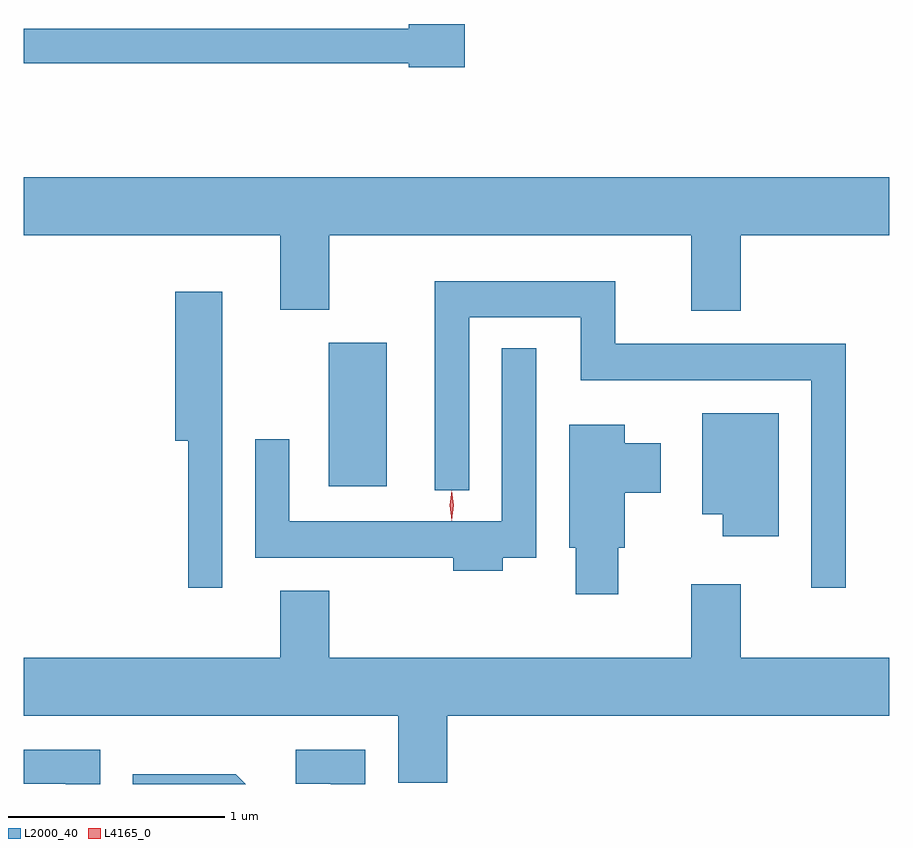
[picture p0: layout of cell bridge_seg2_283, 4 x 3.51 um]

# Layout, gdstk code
import gdstk
lib = gdstk.Library(unit=1e-6, precision=1e-09)
def R(c, l, rs):  # rectangles x0, y0, x1, y1
    for r in rs: c.add(gdstk.rectangle(r[:2], r[2:], *l))
def P(c, l, *ps):  # polygons
    for p in ps: c.add(gdstk.Polygon(p, *l))
L2000_40 = (2000, 40)
L4165_0 = (4165, 0)

bridge_seg2_283 = lib.new_cell('bridge_seg2_283')
R(bridge_seg2_283, L2000_40, [(545.306,1113.756,545.574,1114.419)])
P(bridge_seg2_283, L2000_40, [(545.934,1115.892),(545.676,1115.892),(545.676,1115.869),(543.896,1115.869),(543.896,1115.711),(545.676,1115.711),(545.676,1115.691),(545.934,1115.691)],
  [(547.209,1114.916),(547.896,1114.916),(547.896,1115.184),(543.896,1115.184),(543.896,1114.916),(545.081,1114.916),(545.081,1114.571),(545.309,1114.571),(545.309,1114.916),(546.981,1114.916),(546.981,1114.566),(547.209,1114.566)],
  [(547.694,1114.414),(546.629,1114.414),(546.629,1114.704),(545.796,1114.704),(545.796,1113.738),(545.954,1113.738),(545.954,1114.536),(546.471,1114.536),(546.471,1114.246),(547.536,1114.246),(547.536,1113.288),(547.694,1113.288)],
  [(544.814,1114.654),(544.596,1114.654),(544.596,1113.966),(544.656,1113.966),(544.656,1113.288),(544.814,1113.288)],
  [(546.109,1113.426),(546.264,1113.426),(546.264,1114.393),(546.106,1114.393),(546.106,1113.594),(545.124,1113.594),(545.124,1113.973),(544.966,1113.973),(544.966,1113.426),(545.881,1113.426),(545.881,1113.366),(546.109,1113.366)],
  [(547.384,1114.094),(547.031,1114.094),(547.031,1113.626),(547.126,1113.626),(547.126,1113.526),(547.384,1113.526)],
  [(546.644,1113.471),(546.674,1113.471),(546.674,1113.726),(546.839,1113.726),(546.839,1113.954),(546.674,1113.954),(546.674,1114.039),(546.416,1114.039),(546.416,1113.471),(546.446,1113.471),(546.446,1113.256),(546.644,1113.256)],
  [(545.854,1112.696),(547.896,1112.696),(547.896,1112.964),(547.209,1112.964),(547.209,1113.304),(546.981,1113.304),(546.981,1112.964),(545.309,1112.964),(545.309,1113.274),(545.081,1113.274),(545.081,1112.964),(543.896,1112.964),(543.896,1112.696),(545.626,1112.696),(545.626,1112.386),(545.854,1112.386)],
  [(545.474,1112.539),(545.153,1112.539),(545.153,1112.381),(545.316,1112.381),(545.316,1112.38),(545.474,1112.38)],
  [(544.249,1112.539),(543.896,1112.539),(543.896,1112.381),(544.091,1112.381),(544.091,1112.38),(544.249,1112.38)],
  [(544.877,1112.424),(544.401,1112.424),(544.401,1112.38),(544.921,1112.38)])
P(bridge_seg2_283, L4165_0, [(545.874,1113.597),(545.873,1113.598),(545.864,1113.667),(545.873,1113.736),(545.874,1113.736),(545.874,1113.736),(545.884,1113.667),(545.874,1113.598)])

lib.write_gds('bridge_seg2_283.gds')
